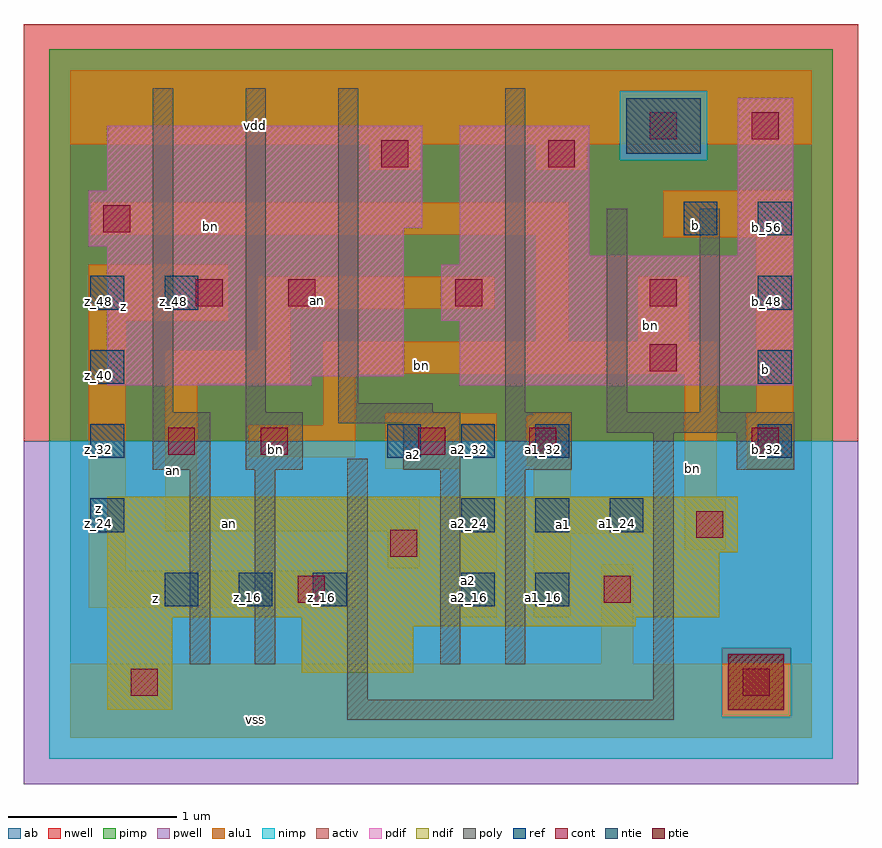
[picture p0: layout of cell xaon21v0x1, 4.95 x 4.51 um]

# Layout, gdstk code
import gdstk
lib = gdstk.Library(unit=1e-6, precision=2.5e-09)
def R(c, l, rs):  # rectangles x0, y0, x1, y1
    for r in rs: c.add(gdstk.rectangle(r[:2], r[2:], *l))
def A(c, l, x, y, w, h, nx, ny, dx, dy):  # array of equal rectangles
    R(c, l, [(x+i*dx, y+j*dy, x+i*dx+w, y+j*dy+h) for i in range(nx) for j in range(ny)])
ndif = (3, 0)
pdif = (4, 0)
ntie = (5, 0)
ptie = (6, 0)
ref = (24, 0)
cont = (25, 0)
pwell = (41, 0)
nwell = (42, 0)
activ = (43, 0)
pimp = (44, 0)
nimp = (45, 0)
poly = (46, 0)
alu1 = (49, 0)
ab = (63, 0)

xaon21v0x1 = lib.new_cell('xaon21v0x1')
R(xaon21v0x1, ndif, [(0.22,0.165,0.605,0.715), (1.375,0.385,2.035,0.66), (1.375,0.66,3.355,0.715), (0.22,0.715,3.85,1.1), (0.22,1.1,3.96,1.43)])
R(xaon21v0x1, pdif, [(0.22,2.09,1.43,2.145), (2.31,2.09,4.29,2.475), (0.22,2.145,1.98,2.915), (2.2,2.475,4.29,2.805), (2.31,2.805,4.29,2.86), (2.31,2.86,3.08,3.63), (3.96,2.86,4.29,3.795), (0.11,2.915,1.98,3.025), (0.11,3.025,2.09,3.245), (0.22,3.245,2.09,3.63)])
R(xaon21v0x1, ntie, [(3.3,3.465,3.74,3.795)])
R(xaon21v0x1, ptie, [(3.905,0.165,4.235,0.495)])
A(xaon21v0x1, ref, 0.56, 0.78, 0.2, 0.2, 3, 1, 0.44, 0)
A(xaon21v0x1, ref, 0.12, 1.22, 0.2, 0.2, 1, 4, 0, 0.44)
A(xaon21v0x1, ref, 2.32, 1.22, 0.2, 0.2, 3, 1, 0.44, 0)
A(xaon21v0x1, ref, 1.88, 1.66, 0.2, 0.2, 3, 1, 0.44, 0)
A(xaon21v0x1, ref, 4.08, 1.66, 0.2, 0.2, 1, 4, 0, 0.44)
R(xaon21v0x1, ref, [(2.32,0.78,2.52,0.98), (2.76,0.78,2.96,0.98), (0.56,2.54,0.76,2.74), (3.64,2.98,3.84,3.18)])
R(xaon21v0x1, cont, [(0.36,0.25,0.52,0.41), (3.99,0.25,4.15,0.41), (1.35,0.8,1.51,0.96), (3.165,0.8,3.325,0.96), (1.9,1.075,2.06,1.235), (3.715,1.185,3.875,1.345), (0.58,1.68,0.74,1.84), (1.13,1.68,1.29,1.84), (2.065,1.68,2.225,1.84), (2.725,1.68,2.885,1.84), (4.045,1.68,4.205,1.84), (3.44,2.175,3.6,2.335), (0.745,2.56,0.905,2.72), (1.295,2.56,1.455,2.72), (2.285,2.56,2.445,2.72), (3.44,2.56,3.6,2.72), (0.195,3,0.355,3.16), (1.845,3.385,2.005,3.545), (2.835,3.385,2.995,3.545), (3.44,3.55,3.6,3.71), (4.045,3.55,4.205,3.71)])
R(xaon21v0x1, pwell, [(-0.275,-0.275,4.675,1.76)])
R(xaon21v0x1, nwell, [(-0.275,1.76,4.675,4.235)])
R(xaon21v0x1, activ, [(0.22,0.165,0.605,0.715), (3.905,0.165,4.235,0.495), (1.375,0.385,2.035,0.66), (1.375,0.66,3.355,0.715), (0.22,0.715,3.85,1.1), (0.22,1.1,3.96,1.43), (0.22,2.09,1.43,2.145), (2.31,2.09,4.29,2.475), (0.22,2.145,1.98,2.915), (2.2,2.475,4.29,2.805), (2.31,2.805,4.29,2.86), (2.31,2.86,3.08,3.63), (3.96,2.86,4.29,3.795), (0.11,2.915,1.98,3.025), (0.11,3.025,2.09,3.245), (0.22,3.245,2.09,3.63), (3.3,3.465,3.74,3.795)])
R(xaon21v0x1, pimp, [(3.865,0.125,4.275,0.535), (-0.125,1.76,4.525,3.425), (-0.125,3.425,3.26,3.835), (3.78,3.425,4.525,3.835), (-0.125,3.835,4.525,4.085)])
R(xaon21v0x1, nimp, [(-0.125,-0.125,4.525,0.125), (-0.125,0.125,3.865,0.535), (4.275,0.125,4.525,0.535), (-0.125,0.535,4.525,1.76), (3.26,3.425,3.78,3.835)])
R(xaon21v0x1, poly, [(1.645,0.105,3.58,0.225), (1.645,0.225,1.765,1.655), (3.46,0.225,3.58,1.81), (0.71,0.435,0.83,1.59), (1.095,0.435,1.215,1.59), (2.195,0.435,2.315,1.59), (2.58,0.435,2.7,1.59), (0.49,1.59,0.83,1.93), (1.04,1.59,1.38,1.93), (1.975,1.59,2.315,1.865), (2.58,1.59,2.975,1.93), (3.955,1.59,4.295,1.81), (3.185,1.81,4.295,1.93), (1.59,1.865,2.315,1.93), (0.49,1.93,0.61,3.855), (1.04,1.93,1.16,3.855), (1.59,1.93,2.15,1.985), (2.58,1.93,2.7,3.855), (3.185,1.93,3.305,3.14), (3.735,1.93,3.855,3.14), (1.59,1.985,1.71,3.855)])
R(xaon21v0x1, alu1, [(0,0,4.4,0.44), (3.15,0.44,3.34,1.03), (2.31,0.715,2.53,1.595), (2.75,0.715,2.97,1.21), (0.11,0.77,1.705,0.99), (0.11,0.99,0.33,2.475), (1.885,1.005,2.075,1.225), (3.645,1.115,3.89,1.415), (2.75,1.21,3.465,1.43), (0.565,1.225,2.075,1.415), (0.565,1.415,0.755,2.105), (3.645,1.415,3.835,2.16), (2.75,1.43,2.97,1.61), (1.87,1.595,2.53,1.925), (4.015,1.595,4.29,1.925), (2.71,1.61,2.97,1.91), (1.06,1.665,1.69,1.855), (1.5,1.855,1.69,2.16), (2.75,1.91,2.97,1.925), (4.07,1.925,4.29,2.97), (0.565,2.105,1.305,2.295), (1.5,2.16,3.835,2.35), (1.115,2.295,1.305,2.545), (2.765,2.35,2.955,2.985), (3.37,2.35,3.67,2.735), (0.11,2.475,0.935,2.805), (1.115,2.545,2.515,2.735), (3.52,2.97,4.29,3.245), (0.125,2.985,2.955,3.175), (1.775,3.37,2.075,3.52), (2.765,3.37,3.065,3.52), (0,3.52,4.4,3.96)])
R(xaon21v0x1, ab, [(0,0,4.4,3.96)])
xaon21v0x1.add(gdstk.Label('vss', (1.1,0.11), layer=49, texttype=0))
xaon21v0x1.add(gdstk.Label('b', (4.125,2.185), layer=49, texttype=0))
xaon21v0x1.add(gdstk.Label('bn', (3.6925,1.6), layer=49, texttype=0))
xaon21v0x1.add(gdstk.Label('a1', (2.9275,1.265), layer=49, texttype=0))
xaon21v0x1.add(gdstk.Label('a2', (2.365,0.935), layer=49, texttype=0))
xaon21v0x1.add(gdstk.Label('z', (0.5075,0.825), layer=49, texttype=0))
xaon21v0x1.add(gdstk.Label('an', (0.9425,1.2725), layer=49, texttype=0))
xaon21v0x1.add(gdstk.Label('a2', (2.035,1.6775), layer=49, texttype=0))
xaon21v0x1.add(gdstk.Label('bn', (1.2175,1.7125), layer=49, texttype=0))
xaon21v0x1.add(gdstk.Label('an', (0.6125,1.5875), layer=49, texttype=0))
xaon21v0x1.add(gdstk.Label('bn', (2.0825,2.2075), layer=49, texttype=0))
xaon21v0x1.add(gdstk.Label('bn', (3.445,2.445), layer=49, texttype=0))
xaon21v0x1.add(gdstk.Label('b', (3.7125,3.0375), layer=49, texttype=0))
xaon21v0x1.add(gdstk.Label('z', (0.165,1.36), layer=49, texttype=0))
xaon21v0x1.add(gdstk.Label('an', (1.465,2.5925), layer=49, texttype=0))
xaon21v0x1.add(gdstk.Label('z', (0.315,2.5575), layer=49, texttype=0))
xaon21v0x1.add(gdstk.Label('bn', (0.8325,3.0325), layer=49, texttype=0))
xaon21v0x1.add(gdstk.Label('vdd', (1.1,3.63), layer=49, texttype=0))
xaon21v0x1.add(gdstk.Label('b_32', (4.13,1.71), layer=24, texttype=0))
xaon21v0x1.add(gdstk.Label('b_56', (4.13,3.03), layer=24, texttype=0))
xaon21v0x1.add(gdstk.Label('b_48', (4.13,2.59), layer=24, texttype=0))
xaon21v0x1.add(gdstk.Label('b_40', (4.13,2.15), layer=24, texttype=0))
xaon21v0x1.add(gdstk.Label('b_56', (3.69,3.03), layer=24, texttype=0))
xaon21v0x1.add(gdstk.Label('a1_24', (3.25,1.27), layer=24, texttype=0))
xaon21v0x1.add(gdstk.Label('a1_32', (2.81,1.71), layer=24, texttype=0))
xaon21v0x1.add(gdstk.Label('a1_24', (2.81,1.27), layer=24, texttype=0))
xaon21v0x1.add(gdstk.Label('a1_16', (2.81,0.83), layer=24, texttype=0))
xaon21v0x1.add(gdstk.Label('a2_32', (2.37,1.71), layer=24, texttype=0))
xaon21v0x1.add(gdstk.Label('a2_24', (2.37,1.27), layer=24, texttype=0))
xaon21v0x1.add(gdstk.Label('a2_16', (2.37,0.83), layer=24, texttype=0))
xaon21v0x1.add(gdstk.Label('z_48', (0.17,2.59), layer=24, texttype=0))
xaon21v0x1.add(gdstk.Label('z_40', (0.17,2.15), layer=24, texttype=0))
xaon21v0x1.add(gdstk.Label('z_32', (0.17,1.71), layer=24, texttype=0))
xaon21v0x1.add(gdstk.Label('z_24', (0.17,1.27), layer=24, texttype=0))
xaon21v0x1.add(gdstk.Label('a2_32', (1.93,1.71), layer=24, texttype=0))
xaon21v0x1.add(gdstk.Label('z_16', (1.49,0.83), layer=24, texttype=0))
xaon21v0x1.add(gdstk.Label('z_16', (1.05,0.83), layer=24, texttype=0))
xaon21v0x1.add(gdstk.Label('z_48', (0.61,2.59), layer=24, texttype=0))
xaon21v0x1.add(gdstk.Label('z_16', (0.61,0.83), layer=24, texttype=0))

lib.write_gds('xaon21v0x1.gds')
